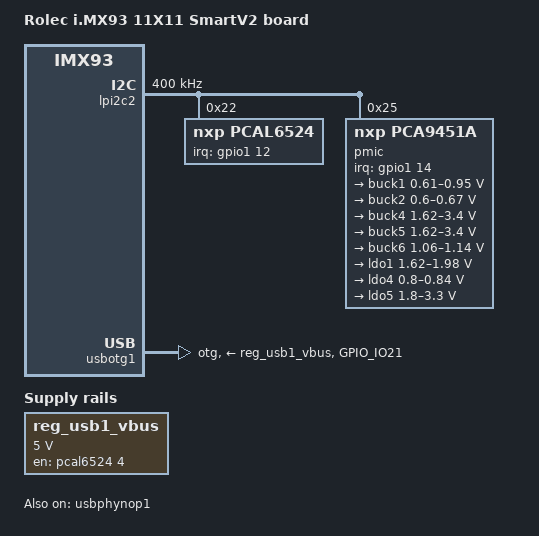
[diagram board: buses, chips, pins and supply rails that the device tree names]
// SPDX-License-Identifier: (GPL-2.0+ OR MIT)
/*
 * Copyright 2026 Rolec
 */

#include "imx93-11x11-evk.dts"

/ {
	model = "Rolec i.MX93 11X11 SmartV2 board";
	compatible = "rolec,imx93-rolec-smartv2", "fsl,imx93-11x11-evk", "fsl,imx93";

	reg_usb1_vbus: regulator-usb1-vbus {
		compatible = "regulator-fixed";
		regulator-name = "usb1_vbus";
		regulator-min-microvolt = <5000000>;
		regulator-max-microvolt = <5000000>;
		gpio = <&pcal6524 4 GPIO_ACTIVE_HIGH>;
		enable-active-high;
		regulator-always-on;
	};
};

&iomuxc {
	pinctrl_usbotg1_ext: usbotg1extgrp {
        fsl,pins = <
            /* nFltIRQ Open Drain Input Mapping (GPIO2_21) */
			MX93_PAD_GPIO_IO21__GPIO2_IO21                0x11e
        >;
    };

    pinctrl_pcal6524: pcal6524grp {
		fsl,pins = <
			/* AM: this is right for SmartV2 ES1, ES2 changed to GPIO1_IO12
			MX93_PAD_PDM_BIT_STREAM1__GPIO1_IO10 		0x31e */
			MX93_PAD_SAI1_TXC__GPIO1_IO12			0x31e
		>;
	};
};

&lpi2c2 {
	clock-frequency = <400000>;
	pinctrl-names = "default", "sleep";
	pinctrl-0 = <&pinctrl_lpi2c2>;
	pinctrl-1 = <&pinctrl_lpi2c2>;
	status = "okay";

	pcal6524: gpio@22 {
		compatible = "nxp,pcal6524";
		reg = <0x22>;
		pinctrl-names = "default";
		pinctrl-0 = <&pinctrl_pcal6524>;
		gpio-controller;
		#gpio-cells = <2>;
		interrupt-controller;
		#interrupt-cells = <2>;
		
		interrupt-parent = <&gpio1>;
		interrupts = <12 IRQ_TYPE_LEVEL_LOW>;
	};

	pmic@25 {
		compatible = "nxp,pca9451a";
		reg = <0x25>;
		interrupt-parent = <&gpio1>;
		interrupts = <14 IRQ_TYPE_EDGE_FALLING>;

		regulators {
			buck1: BUCK1 {
				regulator-name = "BUCK1";
				regulator-min-microvolt = <610000>;
				regulator-max-microvolt = <950000>;
				regulator-boot-on;
				regulator-always-on;
				regulator-ramp-delay = <3125>;
			};

			buck2: BUCK2 {
				regulator-name = "BUCK2";
				regulator-min-microvolt = <600000>;
				regulator-max-microvolt = <670000>;
				regulator-boot-on;
				regulator-always-on;
				regulator-ramp-delay = <3125>;
			};

			buck4: BUCK4{
				regulator-name = "BUCK4";
				regulator-min-microvolt = <1620000>;
				regulator-max-microvolt = <3400000>;
				regulator-boot-on;
				regulator-always-on;
			};

			buck5: BUCK5{
				regulator-name = "BUCK5";
				regulator-min-microvolt = <1620000>;
				regulator-max-microvolt = <3400000>;
				regulator-boot-on;
				regulator-always-on;
			};

			buck6: BUCK6 {
				regulator-name = "BUCK6";
				regulator-min-microvolt = <1060000>;
				regulator-max-microvolt = <1140000>;
				regulator-boot-on;
				regulator-always-on;
			};

			ldo1: LDO1 {
				regulator-name = "LDO1";
				regulator-min-microvolt = <1620000>;
				regulator-max-microvolt = <1980000>;
				regulator-boot-on;
				regulator-always-on;
			};

			ldo4: LDO4 {
				regulator-name = "LDO4";
				regulator-min-microvolt = <800000>;
				regulator-max-microvolt = <840000>;
				regulator-boot-on;
				regulator-always-on;
			};

			ldo5: LDO5 {
				regulator-name = "LDO5";
				regulator-min-microvolt = <1800000>;
				regulator-max-microvolt = <3300000>;
				regulator-boot-on;
				regulator-always-on;
			};
		};
	};
};

&usbphynop2 {
	status = "disabled";
};

&usbphynop1 {
	fsl,vbus-detect-ext;
	status = "okay";
};

&usbotg1 {
	dr_mode = "otg";
	vbus-supply = <&reg_usb1_vbus>;
	pinctrl-names = "default";
	pinctrl-0 = <&pinctrl_usbotg1_ext>;
	interrupt-parent = <&gpio2>;
	interrupts = <21 IRQ_TYPE_EDGE_FALLING>;
	over-current-active-low;
	status = "okay";
};

&usbotg2 {
	dr_mode = "host";
	disable-over-current;
	status = "disabled";
};
